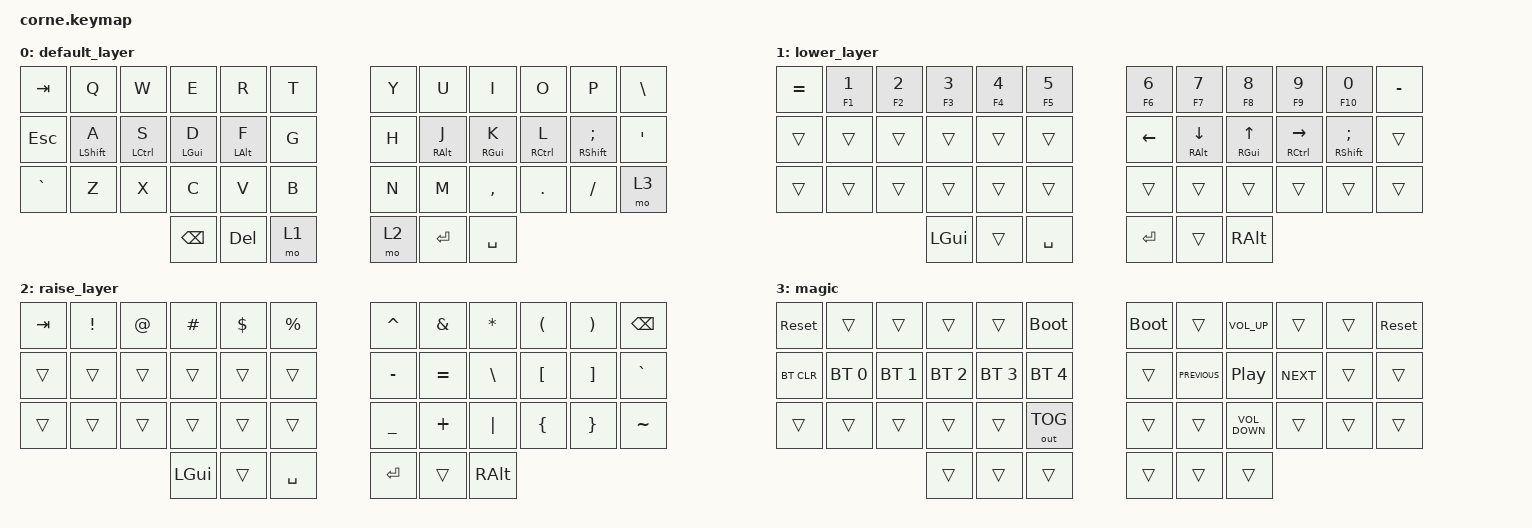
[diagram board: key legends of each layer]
/*
 * Copyright (c) 2020 The ZMK Contributors
 *
 * SPDX-License-Identifier: MIT
 */

#include <behaviors.dtsi>
#include <dt-bindings/zmk/bt.h>
#include <dt-bindings/zmk/keys.h>
#include <dt-bindings/zmk/outputs.h>

/ {
    behaviors {
        hm: home_row_mods {
            compatible = "zmk,behavior-hold-tap";
            #binding-cells = <2>;
            tapping-term-ms = <200>;
            quick-tap-ms = <0>;
            flavor = "tap-preferred";
            bindings = <&kp>, <&kp>;
        };
    };

    combos {
        compatible = "zmk,combos";

        caps_word {
            bindings = <&caps_word>;
            key-positions = <13 22>;
            layers = <0 1 2>;
        };

        linux_compose_key {
            bindings = <&kp CAPS>;
            key-positions = <29 30>;
            layers = <0>;
        };

        bootloader_left {
            bindings = <&bootloader>;
            key-positions = <24 5>;
            layers = <0>;
        };

        alt_code_vowel_a {
            bindings = <&alt_code_vowel_a>;
            key-positions = <39 13>;
            layers = <0>;
        };

        alt_code_vowel_u {
            bindings = <&alt_code_vowel_mutation_u>;
            key-positions = <38 7>;
            layers = <0>;
        };

        alt_code_vowel_o {
            bindings = <&alt_code_vowel_mutation_o>;
            key-positions = <38 9>;
            layers = <0>;
        };

        alt_code_vowel_cap_a {
            bindings = <&alt_code_vowel_cap_a>;
            key-positions = <39 14 22>;
            layers = <0>;
        };

        alt_code_vowel_cap_u {
            bindings = <&alt_code_vowel_mutation_cap_u>;
            key-positions = <38 7 13>;
            layers = <0>;
        };

        alt_code_vowel_cap_o {
            bindings = <&alt_code_vowel_mutation_cap_o>;
            key-positions = <38 9 13>;
            layers = <0>;
        };

        alt_code_euro {
            bindings = <&alt_code_euro_symbol>;
            key-positions = <39 3>;
            layers = <0>;
        };

        vowel_mutation_s {
            bindings = <&alt_code_vowel_mutation_s>;
            key-positions = <14 39>;
        };
    };

    macros {
        alt_code_vowel_a: alt_code_vowel_a {
            compatible = "zmk,behavior-macro";
            #binding-cells = <0>;
            bindings =
                <&macro_press>,
                <&kp LEFT_ALT>,
                <&macro_tap>,
                <&kp KP_N0 &kp KP_NUMBER_2 &kp KP_N2 &kp KP_NUMBER_8>,
                <&macro_release>,
                <&kp LALT>;

            label = "ALT_CODE_VOWEL_A";
        };

        alt_code_vowel_mutation_o: alt_code_vowel_mutation_o {
            compatible = "zmk,behavior-macro";
            #binding-cells = <0>;
            bindings =
                <&macro_press>,
                <&kp LEFT_ALT>,
                <&macro_tap>,
                <&kp KP_N0 &kp KP_NUMBER_2 &kp KP_N4 &kp KP_N6>,
                <&macro_release>,
                <&kp LALT>;

            label = "ALT_CODE_VOWEL_MUTATION_O";
        };

        alt_code_vowel_mutation_u: alt_code_vowel_mutation_u {
            compatible = "zmk,behavior-macro";
            #binding-cells = <0>;
            bindings =
                <&macro_press>,
                <&kp LEFT_ALT>,
                <&macro_tap>,
                <&kp KP_N0 &kp KP_NUMBER_2 &kp KP_N5 &kp KP_N2>,
                <&macro_release>,
                <&kp LALT>;

            label = "ALT_CODE_VOWEL_MUTATION_U";
        };

        alt_code_vowel_mutation_s: alt_code_vowel_mutation_s {
            compatible = "zmk,behavior-macro";
            #binding-cells = <0>;
            bindings =
                <&macro_press>,
                <&kp LEFT_ALT>,
                <&macro_tap>,
                <&kp KP_N0 &kp KP_NUMBER_2 &kp KP_N2 &kp KP_N3>,
                <&macro_release>,
                <&kp LALT>;

            label = "ALT_CODE_VOWEL_MUTATION_S";
        };

        alt_code_vowel_cap_a: alt_code_vowel_cap_a {
            compatible = "zmk,behavior-macro";
            #binding-cells = <0>;
            bindings =
                <&macro_press>,
                <&kp LEFT_ALT>,
                <&macro_tap>,
                <&kp KP_N0 &kp KP_N1 &kp KP_N9 &kp KP_N6>,
                <&macro_release>,
                <&kp LALT>;

            label = "ALT_CODE_VOWEL_CAP_A";
        };

        alt_code_vowel_mutation_cap_o: alt_code_vowel_mutation_cap_o {
            compatible = "zmk,behavior-macro";
            #binding-cells = <0>;
            bindings =
                <&macro_press>,
                <&kp LEFT_ALT>,
                <&macro_tap>,
                <&kp KP_N0 &kp KP_N1 &kp KP_N5 &kp KP_N3>,
                <&macro_release>,
                <&kp LALT>;

            label = "ALT_CODE_VOWEL_MUTATION_CAP_O";
        };

        alt_code_vowel_mutation_cap_u: alt_code_vowel_mutation_cap_u {
            compatible = "zmk,behavior-macro";
            #binding-cells = <0>;
            bindings =
                <&macro_press>,
                <&kp LEFT_ALT>,
                <&macro_tap>,
                <&kp KP_N0 &kp KP_NUMBER_2 &kp KP_N2 &kp KP_N0>,
                <&macro_release>,
                <&kp LALT>;

            label = "ALT_CODE_VOWEL_MUTATION_CAP_U";
        };

        alt_code_euro_symbol: alt_code_euro_symbol {
            compatible = "zmk,behavior-macro";
            #binding-cells = <0>;
            bindings =
                <&macro_press>,
                <&kp LEFT_ALT>,
                <&macro_tap>,
                <&kp KP_N0 &kp KP_N1 &kp KP_N2 &kp KP_N8>,
                <&macro_release>,
                <&kp LALT>;

            label = "ALT_CODE_EURO_SYMBOL";
        };
    };

    keymap {
        compatible = "zmk,keymap";

        default_layer {
            // -----------------------------------------------------------------------------------------
            // |  TAB |  Q  |  W  |  E  |  R  |  T  |   |  Y  |  U   |  I  |  O  |  P  | BSPC |
            // | CTRL |  A  |  S  |  D  |  F  |  G  |   |  H  |  J   |  K  |  L  |  ;  |  '   |
            // | SHFT |  Z  |  X  |  C  |  V  |  B  |   |  N  |  M   |  ,  |  .  |  /  | ESC  |
            //                    | GUI | LWR | SPC |   | ENT | RSE  | ALT |

            bindings = <
&kp TAB     &kp Q             &kp W        &kp E          &kp R           &kp T    &kp Y  &kp U            &kp I       &kp O        &kp P            &kp BACKSLASH
&kp ESCAPE  &hm LEFT_SHIFT A  &hm LCTRL S  &hm LGUI D     &hm LEFT_ALT F  &kp G    &kp H  &hm RIGHT_ALT J  &hm RGUI K  &hm RCTRL L  &hm RSHIFT SEMI  &kp SQT
&kp GRAVE   &kp Z             &kp X        &kp C          &kp V           &kp B    &kp N  &kp M            &kp COMMA   &kp DOT      &kp FSLH         &mo 3
                                           &kp BACKSPACE  &kp DEL         &mo 1    &mo 2  &kp ENTER        &kp SPACE
            >;
        };

        lower_layer {
            // -----------------------------------------------------------------------------------------
            // |  TAB |  1  |  2  |  3  |  4  |  5  |   |  6  |  7  |  8  |  9  |  0  | BSPC |
            // | BTCLR| BT1 | BT2 | BT3 | BT4 | BT5 |   | LFT | DWN |  UP | RGT |     |      |
            // | SHFT |     |     |     |     |     |   |     |     |     |     |     |      |
            //                    | GUI |     | SPC |   | ENT |     | ALT |

            bindings = <
&kp EQUAL  &mt F1 N1  &mt F2 N2  &mt F3 N3  &mt F4 N4  &mt F5 N5    &mt F6 N6  &mt F7 N7                 &mt F8 N8          &mt F9 N9                &mt F10 N0                 &kp MINUS
&trans     &trans     &trans     &trans     &trans     &trans       &kp LEFT   &hm RIGHT_ALT DOWN_ARROW  &hm RGUI UP_ARROW  &hm RIGHT_CONTROL RIGHT  &hm RIGHT_SHIFT SEMICOLON  &trans
&trans     &trans     &trans     &trans     &trans     &trans       &trans     &trans                    &trans             &trans                   &trans                     &trans
                                 &kp LGUI   &trans     &kp SPACE    &kp RET    &trans                    &kp RALT
            >;
        };

        raise_layer {
            // -----------------------------------------------------------------------------------------
            // |  TAB |  !  |  @  |  #  |  $  |  %  |   |  ^  |  &  |  *  |  (  |  )  | BSPC |
            // | CTRL |     |     |     |     |     |   |  -  |  =  |  [  |  ]  |  \  |  `   |
            // | SHFT |     |     |     |     |     |   |  _  |  +  |  {  |  }  | "|" |  ~   |
            //                    | GUI |     | SPC |   | ENT |     | ALT |

            bindings = <
&kp TAB  &kp EXCL  &kp AT  &kp HASH  &kp DLLR  &kp PRCNT    &kp CARET  &kp AMPS   &kp ASTRK      &kp LPAR          &kp RPAR           &kp BSPC
&trans   &trans    &trans  &trans    &trans    &trans       &kp MINUS  &kp EQUAL  &kp BACKSLASH  &kp LEFT_BRACKET  &kp RIGHT_BRACKET  &kp GRAVE
&trans   &trans    &trans  &trans    &trans    &trans       &kp UNDER  &kp PLUS   &kp PIPE       &kp LEFT_BRACE    &kp RIGHT_BRACE    &kp TILDE
                           &kp LGUI  &trans    &kp SPACE    &kp RET    &trans     &kp RALT
            >;
        };

        magic {
            bindings = <
&sys_reset  &trans        &trans        &trans        &trans        &bootloader     &bootloader  &trans          &kp C_VOLUME_UP    &trans      &trans  &sys_reset
&bt BT_CLR  &bt BT_SEL 0  &bt BT_SEL 1  &bt BT_SEL 2  &bt BT_SEL 3  &bt BT_SEL 4    &trans       &kp C_PREVIOUS  &kp C_PLAY_PAUSE   &kp C_NEXT  &trans  &trans
&trans      &trans        &trans        &trans        &trans        &out OUT_TOG    &trans       &trans          &kp C_VOLUME_DOWN  &trans      &trans  &trans
                                        &trans        &trans        &trans          &trans       &trans          &trans
            >;
        };
    };
};
